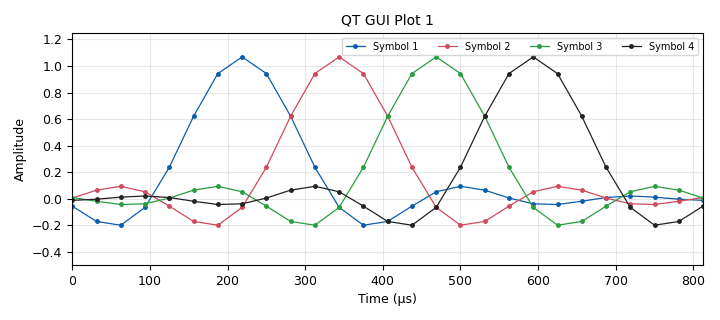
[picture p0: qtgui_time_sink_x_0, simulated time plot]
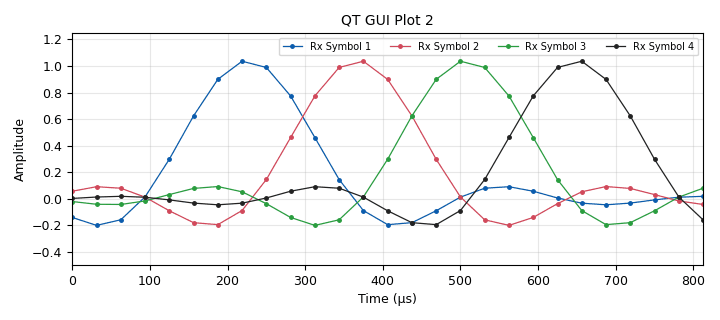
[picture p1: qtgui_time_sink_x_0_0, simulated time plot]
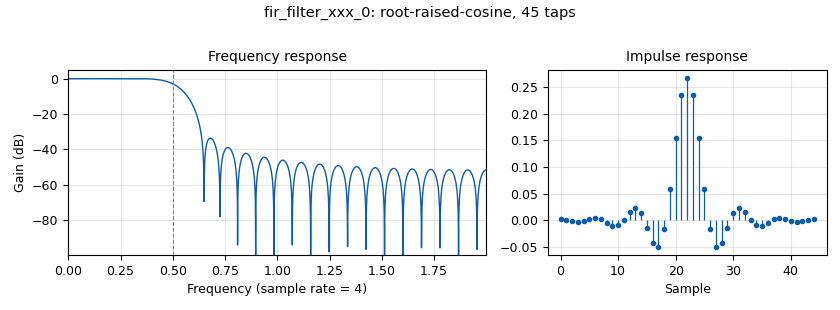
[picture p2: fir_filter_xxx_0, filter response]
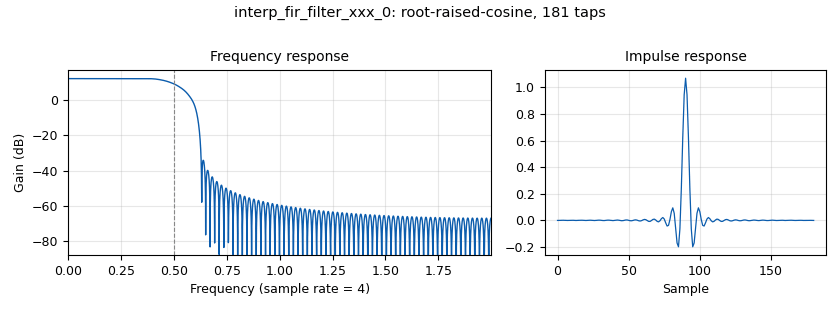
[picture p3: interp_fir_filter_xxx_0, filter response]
<?xml version='1.0' encoding='utf-8'?>
<?grc format='1' created='3.7.11'?>
<flow_graph>
<block>
<key>options</key>
<param><key>id</key><value>symbol_sampling_diff</value></param>
<param><key>category</key><value>Custom</value></param>
<param><key>generate_options</key><value>qt_gui</value></param>
</block>
<block>
<key>variable</key>
<param><key>id</key><value>eb</value></param>
<param><key>value</key><value>0.25</value></param>
</block>
<block>
<key>variable</key>
<param><key>id</key><value>ntaps</value></param>
<param><key>value</key><value>45</value></param>
</block>
<block>
<key>variable</key>
<param><key>id</key><value>rate</value></param>
<param><key>value</key><value>1.125</value></param>
</block>
<block>
<key>variable</key>
<param><key>id</key><value>rrc_rx</value></param>
<param><key>value</key><value>firdes.root_raised_cosine(1, sps, 1, eb, ntaps)</value></param>
</block>
<block>
<key>variable</key>
<param><key>id</key><value>rrc_tx</value></param>
<param><key>value</key><value>firdes.root_raised_cosine(sps, sps, 1, eb, sps*ntaps)</value></param>
</block>
<block>
<key>variable</key>
<param><key>id</key><value>samp_rate</value></param>
<param><key>value</key><value>32000</value></param>
</block>
<block>
<key>variable</key>
<param><key>id</key><value>sps</value></param>
<param><key>value</key><value>4</value></param>
</block>
<block>
<key>blocks_throttle</key>
<param><key>id</key><value>blocks_throttle_0</value></param>
<param><key>samples_per_second</key><value>samp_rate</value></param>
<param><key>type</key><value>float</value></param>
</block>
<block>
<key>blocks_throttle</key>
<param><key>id</key><value>blocks_throttle_0_0</value></param>
<param><key>samples_per_second</key><value>samp_rate</value></param>
<param><key>type</key><value>float</value></param>
</block>
<block>
<key>blocks_throttle</key>
<param><key>id</key><value>blocks_throttle_0_0_0</value></param>
<param><key>samples_per_second</key><value>samp_rate</value></param>
<param><key>type</key><value>float</value></param>
</block>
<block>
<key>blocks_throttle</key>
<param><key>id</key><value>blocks_throttle_0_1</value></param>
<param><key>samples_per_second</key><value>samp_rate</value></param>
<param><key>type</key><value>float</value></param>
</block>
<block>
<key>blocks_vector_source_x</key>
<param><key>id</key><value>blocks_vector_source_x_0</value></param>
<param><key>type</key><value>float</value></param>
<param><key>repeat</key><value>True</value></param>
<param><key>vector</key><value>49*[0,] + [1,] + 50*[0,]</value></param>
</block>
<block>
<key>blocks_vector_source_x</key>
<param><key>id</key><value>blocks_vector_source_x_0_0</value></param>
<param><key>type</key><value>float</value></param>
<param><key>repeat</key><value>True</value></param>
<param><key>vector</key><value>50*[0,] + [1,] + 49*[0,]</value></param>
</block>
<block>
<key>blocks_vector_source_x</key>
<param><key>id</key><value>blocks_vector_source_x_0_0_0</value></param>
<param><key>type</key><value>float</value></param>
<param><key>repeat</key><value>True</value></param>
<param><key>vector</key><value>52*[0,] + [1,] + 47*[0,]</value></param>
</block>
<block>
<key>blocks_vector_source_x</key>
<param><key>id</key><value>blocks_vector_source_x_0_1</value></param>
<param><key>type</key><value>float</value></param>
<param><key>repeat</key><value>True</value></param>
<param><key>vector</key><value>51*[0,] + [1,] + 48*[0,]</value></param>
</block>
<block>
<key>fir_filter_xxx</key>
<param><key>id</key><value>fir_filter_xxx_0</value></param>
<param><key>decim</key><value>1</value></param>
<param><key>taps</key><value>rrc_rx</value></param>
<param><key>type</key><value>fff</value></param>
</block>
<block>
<key>fir_filter_xxx</key>
<param><key>id</key><value>fir_filter_xxx_0_0</value></param>
<param><key>decim</key><value>1</value></param>
<param><key>taps</key><value>rrc_rx</value></param>
<param><key>type</key><value>fff</value></param>
</block>
<block>
<key>fir_filter_xxx</key>
<param><key>id</key><value>fir_filter_xxx_0_0_0</value></param>
<param><key>decim</key><value>1</value></param>
<param><key>taps</key><value>rrc_rx</value></param>
<param><key>type</key><value>fff</value></param>
</block>
<block>
<key>fir_filter_xxx</key>
<param><key>id</key><value>fir_filter_xxx_0_1</value></param>
<param><key>decim</key><value>1</value></param>
<param><key>taps</key><value>rrc_rx</value></param>
<param><key>type</key><value>fff</value></param>
</block>
<block>
<key>interp_fir_filter_xxx</key>
<param><key>id</key><value>interp_fir_filter_xxx_0</value></param>
<param><key>interp</key><value>sps</value></param>
<param><key>taps</key><value>rrc_tx</value></param>
<param><key>type</key><value>fff</value></param>
</block>
<block>
<key>interp_fir_filter_xxx</key>
<param><key>id</key><value>interp_fir_filter_xxx_0_0</value></param>
<param><key>interp</key><value>sps</value></param>
<param><key>taps</key><value>rrc_tx</value></param>
<param><key>type</key><value>fff</value></param>
</block>
<block>
<key>interp_fir_filter_xxx</key>
<param><key>id</key><value>interp_fir_filter_xxx_0_0_0</value></param>
<param><key>interp</key><value>sps</value></param>
<param><key>taps</key><value>rrc_tx</value></param>
<param><key>type</key><value>fff</value></param>
</block>
<block>
<key>interp_fir_filter_xxx</key>
<param><key>id</key><value>interp_fir_filter_xxx_0_1</value></param>
<param><key>interp</key><value>sps</value></param>
<param><key>taps</key><value>rrc_tx</value></param>
<param><key>type</key><value>fff</value></param>
</block>
<block>
<key>pfb_arb_resampler_xxx</key>
<param><key>id</key><value>pfb_arb_resampler_xxx_0</value></param>
<param><key>nfilts</key><value>32</value></param>
<param><key>rrate</key><value>rate</value></param>
<param><key>atten</key><value>100</value></param>
<param><key>type</key><value>fff</value></param>
</block>
<block>
<key>pfb_arb_resampler_xxx</key>
<param><key>id</key><value>pfb_arb_resampler_xxx_0_0</value></param>
<param><key>nfilts</key><value>32</value></param>
<param><key>rrate</key><value>rate</value></param>
<param><key>atten</key><value>100</value></param>
<param><key>type</key><value>fff</value></param>
</block>
<block>
<key>pfb_arb_resampler_xxx</key>
<param><key>id</key><value>pfb_arb_resampler_xxx_0_0_0</value></param>
<param><key>nfilts</key><value>32</value></param>
<param><key>rrate</key><value>rate</value></param>
<param><key>atten</key><value>100</value></param>
<param><key>type</key><value>fff</value></param>
</block>
<block>
<key>pfb_arb_resampler_xxx</key>
<param><key>id</key><value>pfb_arb_resampler_xxx_0_0_1</value></param>
<param><key>nfilts</key><value>32</value></param>
<param><key>rrate</key><value>rate</value></param>
<param><key>atten</key><value>100</value></param>
<param><key>type</key><value>fff</value></param>
</block>
<block>
<key>qtgui_time_sink_x</key>
<param><key>id</key><value>qtgui_time_sink_x_0</value></param>
<param><key>gui_hint</key><value>0,0,1,1</value></param>
<param><key>color1</key><value>"blue"</value></param>
<param><key>label1</key><value>Symbol 1</value></param>
<param><key>marker1</key><value>0</value></param>
<param><key>width1</key><value>2</value></param>
<param><key>color2</key><value>"red"</value></param>
<param><key>label2</key><value>Symbol 2</value></param>
<param><key>marker2</key><value>0</value></param>
<param><key>width2</key><value>2</value></param>
<param><key>color3</key><value>"green"</value></param>
<param><key>label3</key><value>Symbol 3</value></param>
<param><key>marker3</key><value>0</value></param>
<param><key>width3</key><value>2</value></param>
<param><key>color4</key><value>"black"</value></param>
<param><key>label4</key><value>Symbol 4</value></param>
<param><key>marker4</key><value>0</value></param>
<param><key>width4</key><value>2</value></param>
<param><key>name</key><value>QT GUI Plot 1</value></param>
<param><key>nconnections</key><value>4</value></param>
<param><key>size</key><value>27</value></param>
<param><key>srate</key><value>samp_rate</value></param>
<param><key>tr_delay</key><value>0.0002</value></param>
<param><key>tr_level</key><value>0.99</value></param>
<param><key>tr_mode</key><value>qtgui.TRIG_MODE_NORM</value></param>
<param><key>type</key><value>float</value></param>
<param><key>update_time</key><value>0.01</value></param>
<param><key>ymax</key><value>1.25</value></param>
<param><key>ymin</key><value>-0.5</value></param>
</block>
<block>
<key>qtgui_time_sink_x</key>
<param><key>id</key><value>qtgui_time_sink_x_0_0</value></param>
<param><key>gui_hint</key><value>0,1,1,1</value></param>
<param><key>color1</key><value>"blue"</value></param>
<param><key>label1</key><value>Rx Symbol 1</value></param>
<param><key>marker1</key><value>0</value></param>
<param><key>width1</key><value>2</value></param>
<param><key>color2</key><value>"red"</value></param>
<param><key>label2</key><value>Rx Symbol 2</value></param>
<param><key>marker2</key><value>0</value></param>
<param><key>width2</key><value>2</value></param>
<param><key>color3</key><value>"green"</value></param>
<param><key>label3</key><value>Rx Symbol 3</value></param>
<param><key>marker3</key><value>0</value></param>
<param><key>width3</key><value>2</value></param>
<param><key>color4</key><value>"black"</value></param>
<param><key>label4</key><value>Rx Symbol 4</value></param>
<param><key>marker4</key><value>0</value></param>
<param><key>width4</key><value>2</value></param>
<param><key>name</key><value>QT GUI Plot 2</value></param>
<param><key>nconnections</key><value>4</value></param>
<param><key>size</key><value>27</value></param>
<param><key>srate</key><value>samp_rate</value></param>
<param><key>tr_delay</key><value>0.0002</value></param>
<param><key>tr_level</key><value>0.9</value></param>
<param><key>tr_mode</key><value>qtgui.TRIG_MODE_NORM</value></param>
<param><key>type</key><value>float</value></param>
<param><key>update_time</key><value>0.01</value></param>
<param><key>ymax</key><value>1.25</value></param>
<param><key>ymin</key><value>-0.5</value></param>
</block>
<connection><source_block_id>blocks_throttle_0</source_block_id><sink_block_id>interp_fir_filter_xxx_0</sink_block_id><source_key>0</source_key><sink_key>0</sink_key></connection>
<connection><source_block_id>blocks_throttle_0_0</source_block_id><sink_block_id>interp_fir_filter_xxx_0_0</sink_block_id><source_key>0</source_key><sink_key>0</sink_key></connection>
<connection><source_block_id>blocks_throttle_0_0_0</source_block_id><sink_block_id>interp_fir_filter_xxx_0_0_0</sink_block_id><source_key>0</source_key><sink_key>0</sink_key></connection>
<connection><source_block_id>blocks_throttle_0_1</source_block_id><sink_block_id>interp_fir_filter_xxx_0_1</sink_block_id><source_key>0</source_key><sink_key>0</sink_key></connection>
<connection><source_block_id>blocks_vector_source_x_0</source_block_id><sink_block_id>blocks_throttle_0</sink_block_id><source_key>0</source_key><sink_key>0</sink_key></connection>
<connection><source_block_id>blocks_vector_source_x_0_0</source_block_id><sink_block_id>blocks_throttle_0_0</sink_block_id><source_key>0</source_key><sink_key>0</sink_key></connection>
<connection><source_block_id>blocks_vector_source_x_0_0_0</source_block_id><sink_block_id>blocks_throttle_0_0_0</sink_block_id><source_key>0</source_key><sink_key>0</sink_key></connection>
<connection><source_block_id>blocks_vector_source_x_0_1</source_block_id><sink_block_id>blocks_throttle_0_1</sink_block_id><source_key>0</source_key><sink_key>0</sink_key></connection>
<connection><source_block_id>fir_filter_xxx_0</source_block_id><sink_block_id>qtgui_time_sink_x_0_0</sink_block_id><source_key>0</source_key><sink_key>0</sink_key></connection>
<connection><source_block_id>fir_filter_xxx_0_0</source_block_id><sink_block_id>qtgui_time_sink_x_0_0</sink_block_id><source_key>0</source_key><sink_key>1</sink_key></connection>
<connection><source_block_id>fir_filter_xxx_0_0_0</source_block_id><sink_block_id>qtgui_time_sink_x_0_0</sink_block_id><source_key>0</source_key><sink_key>3</sink_key></connection>
<connection><source_block_id>fir_filter_xxx_0_1</source_block_id><sink_block_id>qtgui_time_sink_x_0_0</sink_block_id><source_key>0</source_key><sink_key>2</sink_key></connection>
<connection><source_block_id>interp_fir_filter_xxx_0</source_block_id><sink_block_id>pfb_arb_resampler_xxx_0</sink_block_id><source_key>0</source_key><sink_key>0</sink_key></connection>
<connection><source_block_id>interp_fir_filter_xxx_0</source_block_id><sink_block_id>qtgui_time_sink_x_0</sink_block_id><source_key>0</source_key><sink_key>0</sink_key></connection>
<connection><source_block_id>interp_fir_filter_xxx_0_0</source_block_id><sink_block_id>pfb_arb_resampler_xxx_0_0</sink_block_id><source_key>0</source_key><sink_key>0</sink_key></connection>
<connection><source_block_id>interp_fir_filter_xxx_0_0</source_block_id><sink_block_id>qtgui_time_sink_x_0</sink_block_id><source_key>0</source_key><sink_key>1</sink_key></connection>
<connection><source_block_id>interp_fir_filter_xxx_0_0_0</source_block_id><sink_block_id>pfb_arb_resampler_xxx_0_0_1</sink_block_id><source_key>0</source_key><sink_key>0</sink_key></connection>
<connection><source_block_id>interp_fir_filter_xxx_0_0_0</source_block_id><sink_block_id>qtgui_time_sink_x_0</sink_block_id><source_key>0</source_key><sink_key>3</sink_key></connection>
<connection><source_block_id>interp_fir_filter_xxx_0_1</source_block_id><sink_block_id>pfb_arb_resampler_xxx_0_0_0</sink_block_id><source_key>0</source_key><sink_key>0</sink_key></connection>
<connection><source_block_id>interp_fir_filter_xxx_0_1</source_block_id><sink_block_id>qtgui_time_sink_x_0</sink_block_id><source_key>0</source_key><sink_key>2</sink_key></connection>
<connection><source_block_id>pfb_arb_resampler_xxx_0</source_block_id><sink_block_id>fir_filter_xxx_0</sink_block_id><source_key>0</source_key><sink_key>0</sink_key></connection>
<connection><source_block_id>pfb_arb_resampler_xxx_0_0</source_block_id><sink_block_id>fir_filter_xxx_0_0</sink_block_id><source_key>0</source_key><sink_key>0</sink_key></connection>
<connection><source_block_id>pfb_arb_resampler_xxx_0_0_0</source_block_id><sink_block_id>fir_filter_xxx_0_1</sink_block_id><source_key>0</source_key><sink_key>0</sink_key></connection>
<connection><source_block_id>pfb_arb_resampler_xxx_0_0_1</source_block_id><sink_block_id>fir_filter_xxx_0_0_0</sink_block_id><source_key>0</source_key><sink_key>0</sink_key></connection>
</flow_graph>
